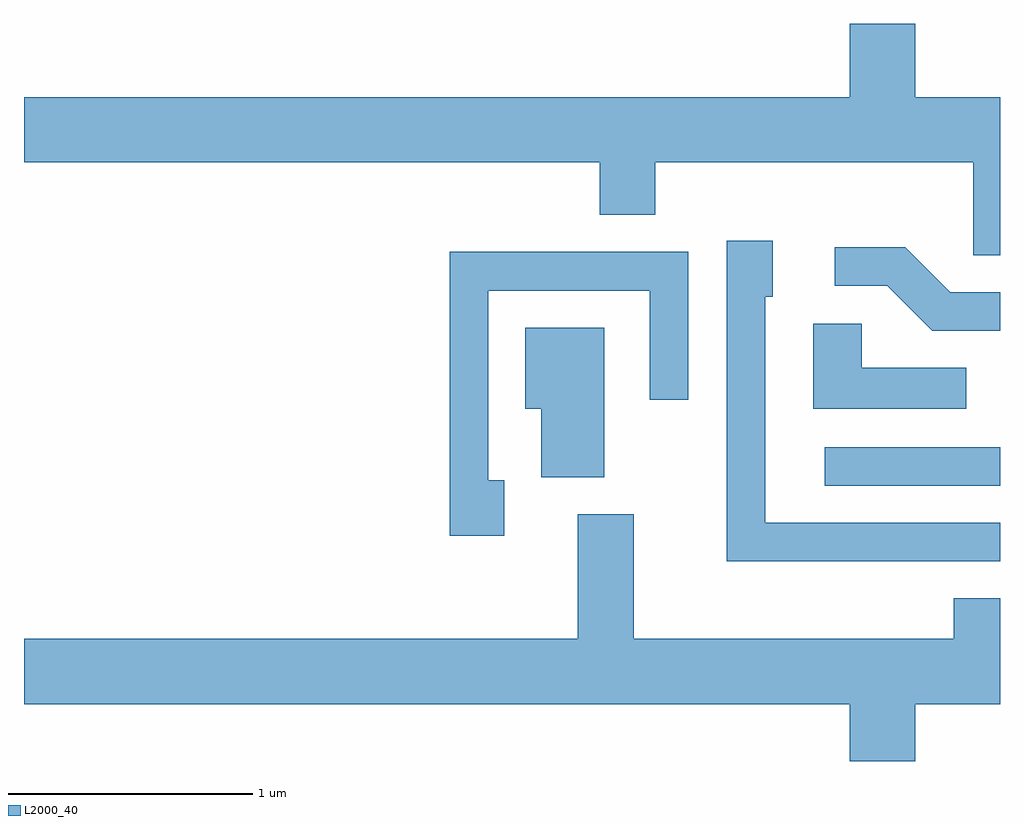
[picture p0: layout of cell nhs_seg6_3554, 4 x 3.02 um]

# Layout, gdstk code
import gdstk
lib = gdstk.Library(unit=1e-6, precision=1e-09)
def R(c, l, rs):  # rectangles x0, y0, x1, y1
    for r in rs: c.add(gdstk.rectangle(r[:2], r[2:], *l))
def P(c, l, *ps):  # polygons
    for p in ps: c.add(gdstk.Polygon(p, *l))
L2000_40 = (2000, 40)

nhs_seg6_3554 = lib.new_cell('nhs_seg6_3554')
R(nhs_seg6_3554, L2000_40, [(294.893,1635.291,295.611,1635.449)])
P(nhs_seg6_3554, L2000_40, [(295.611,1636.884),(295.264,1636.884),(295.264,1637.184),(294.996,1637.184),(294.996,1636.884),(291.611,1636.884),(291.611,1636.616),(293.971,1636.616),(293.971,1636.401),(294.199,1636.401),(294.199,1636.616),(295.501,1636.616),(295.501,1636.236),(295.611,1636.236)],
  [(295.611,1635.139),(294.649,1635.139),(294.649,1636.066),(294.679,1636.066),(294.679,1636.294),(294.491,1636.294),(294.491,1634.981),(295.611,1634.981)],
  [(295.611,1636.084),(295.407,1636.084),(295.222,1636.269),(294.933,1636.269),(294.933,1636.111),(295.149,1636.111),(295.334,1635.926),(295.611,1635.926)],
  [(293.579,1635.314),(293.514,1635.314),(293.514,1636.091),(294.176,1636.091),(294.176,1635.643),(294.334,1635.643),(294.334,1636.249),(293.356,1636.249),(293.356,1635.086),(293.579,1635.086)],
  [(295.473,1635.774),(295.044,1635.774),(295.044,1635.954),(294.846,1635.954),(294.846,1635.606),(295.473,1635.606)],
  [(293.989,1635.939),(293.666,1635.939),(293.666,1635.606),(293.731,1635.606),(293.731,1635.326),(293.989,1635.326)],
  [(295.264,1634.396),(295.611,1634.396),(295.611,1634.829),(295.421,1634.829),(295.421,1634.664),(294.109,1634.664),(294.109,1635.174),(293.881,1635.174),(293.881,1634.664),(291.611,1634.664),(291.611,1634.396),(294.996,1634.396),(294.996,1634.162),(295.264,1634.162)])

lib.write_gds('nhs_seg6_3554.gds')
